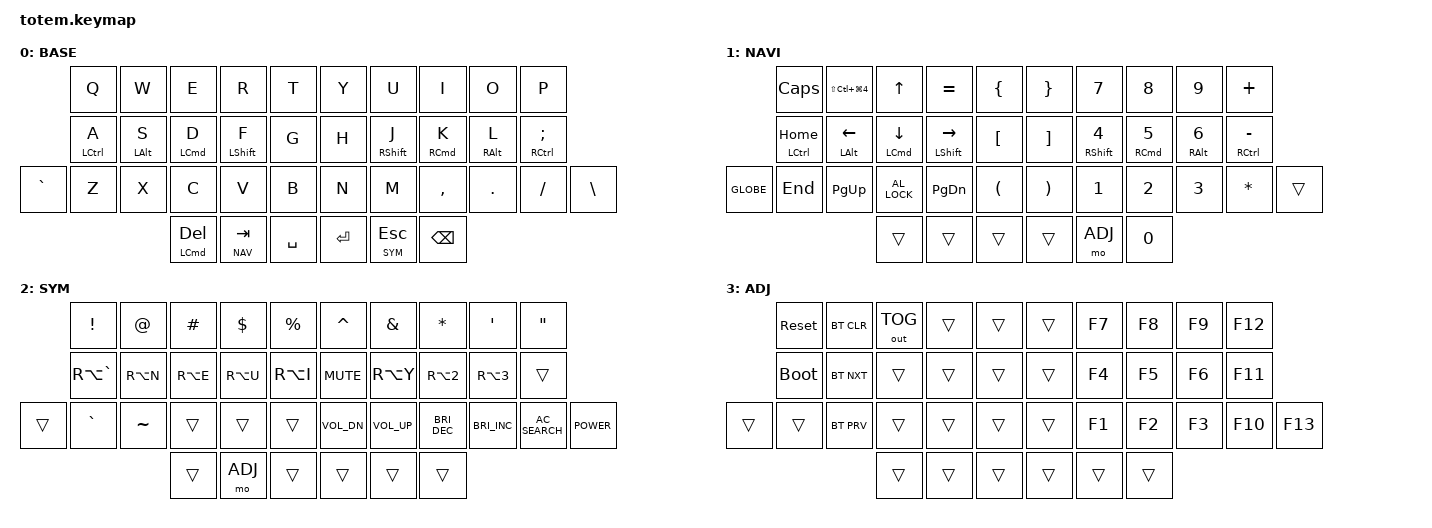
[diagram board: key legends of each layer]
//
//                                                        ▀▀▀▀▀     ▀▀▀▀▀          ▀▀█▀▀
//                                                        ▄▀▀▀▄  ▄  ▄▀▀▀▄  ▄  ▄▀▀▀▄  █  ▄▀▀▀▄
//                                                        █   █  █  █   █  █  █   █  █  █   █
//                                                         ▀▀▀   █   ▀▀▀   █   ▀▀▀   ▀   ▀▀▀
//                                                               █      ▄▄▄█▄▄▄    █   █  
//                                                               ▀      █  █  █     █▄█
//                                                             ▀▀▀▀▀    █  █  █      ▀
//                                                                      ▀  ▀  ▀
//
// ▄▄▄▄▄▄▄▄▄▄▄▄▄▄▄▄▄▄▄▄▄▄▄▄▄▄▄▄▄▄▄▄▄▄▄▄▄▄▄▄▄▄▄▄▄▄▄▄▄▄▄▄▄▄▄▄▄▄▄▄▄▄▄▄▄▄▄▄▄▄▄▄▄▄▄▄▄▄▄▄▄▄▄▄▄▄▄▄▄▄▄▄▄▄▄▄▄▄▄▄▄▄▄▄▄▄▄▄▄▄▄▄▄▄▄▄▄▄▄▄▄▄▄▄▄▄▄▄▄▄▄▄▄▄▄▄▄▄▄▄▄▄▄▄▄▄▄▄▄

#include <behaviors.dtsi>
#include <dt-bindings/zmk/bt.h>
#include <dt-bindings/zmk/keys.h>
#include <dt-bindings/zmk/outputs.h>

#define BASE 0
#define NAV  1
#define SYM  2
#define ADJ  3

&mt {
    quick-tap-ms = <100>;
    global-quick-tap;
    flavor = "tap-preferred";
    tapping-term-ms = <170>;
};

/ {
    combos {
        compatible = "zmk,combos";

        combo_esc {
            timeout-ms = <50>;
            key-positions = <0 1>;
            bindings = <&kp ESC>;
        };
    };

    macros {
    };

    keymap {
        compatible = "zmk,keymap";

        // ▄▄▄▄▄▄▄▄▄▄▄▄▄▄▄▄▄▄▄▄▄▄▄▄▄▄▄▄▄▄▄▄▄▄▄▄▄▄▄▄▄▄▄▄▄▄▄▄▄▄▄▄▄▄▄▄▄▄▄▄▄▄▄▄▄▄▄▄▄▄▄▄▄▄▄▄▄▄▄▄▄▄▄▄▄▄▄▄▄▄▄▄▄▄▄▄▄▄▄▄▄▄▄▄▄▄▄▄▄▄▄▄▄▄▄▄▄▄▄▄▄▄▄▄▄▄▄▄▄▄▄▄▄▄▄▄▄▄▄▄▄▄▄▄▄▄▄▄▄

        base_layer {
            // ┏━━━━━━━━━━━━━━━━━━━━━━━━━━━━━━━━━━━━━━━┓

            label = "BASE";

            // ┗━━━━━━━━━━━━━━━━━━━━━━━━━━━━━━━━━━━━━━━┛
            //             ┏━━━━━━━━━━━┳━━━━━━━━━━━┳━━━━━━━━━━━┳━━━━━━━━━━━┳━━━━━━━━━━━┓   ┏━━━━━━━━━━━┳━━━━━━━━━━━┳━━━━━━━━━━━┳━━━━━━━━━━━┳━━━━━━━━━━━┓
            //             ┃     Q     ┃     W     ┃     E     ┃     R     ┃     T     ┃   ┃     Y     ┃     U     ┃     I     ┃     O     ┃     P     ┃
            //             ┣━━━━━━━━━━━╋━━━━━━━━━━━╋━━━━━━━━━━━╋━━━━━━━━━━━╋━━━━━━━━━━━┫   ┣━━━━━━━━━━━╋━━━━━━━━━━━╋━━━━━━━━━━━╋━━━━━━━━━━━╋━━━━━━━━━━━┫
            //             ┃     A     ┃     S     ┃     D     ┃     F     ┃     G     ┃   ┃     H     ┃     J     ┃     K     ┃     L     ┃     ;     ┃
            // ┏━━━━━━━━━━━╋━━━━━━━━━━━╋━━━━━━━━━━━╋━━━━━━━━━━━╋━━━━━━━━━━━╋━━━━━━━━━━━┫   ┣━━━━━━━━━━━╋━━━━━━━━━━━╋━━━━━━━━━━━╋━━━━━━━━━━━╋━━━━━━━━━━━╋━━━━━━━━━━━┓
            // ┃     `     ┃     Z     ┃     X     ┃     C     ┃     V     ┃     B     ┃   ┃     N     ┃     M     ┃     ,     ┃     .     ┃     /     ┃     \     ┃
            // ┗━━━━━━━━━━━┻━━━━━━━━━━━┻━━━━━━━━━━━╋━━━━━━━━━━━╋━━━━━━━━━━━╋━━━━━━━━━━━┫   ┣━━━━━━━━━━━╋━━━━━━━━━━━╋━━━━━━━━━━━╋━━━━━━━━━━━┻━━━━━━━━━━━┻━━━━━━━━━━━┛
            //                                     ┃    DEL    ┃    TAB    ┃    SPC    ┃   ┃   ENTER   ┃    ESC    ┃   BSPC    ┃
            //                                     ┗━━━━━━━━━━━┻━━━━━━━━━━━┻━━━━━━━━━━━┛   ┗━━━━━━━━━━━┻━━━━━━━━━━━┻━━━━━━━━━━━┛

            bindings = <
           &kp Q        &kp W       &kp E         &kp R        &kp T        &kp Y    &kp U        &kp I       &kp O       &kp P
           &mt LCTRL A  &mt LALT S  &mt LCMD D    &mt LSHFT F  &kp G        &kp H    &mt RSHFT J  &mt RCMD K  &mt RALT L  &mt RCTRL SEMI
&kp GRAVE  &kp Z        &kp X       &kp C         &kp V        &kp B        &kp N    &kp M        &kp COMMA   &kp DOT     &kp FSLH        &kp BSLH
                                    &mt LCMD DEL  &lt NAV TAB  &kp SPACE    &kp RET  &lt SYM ESC  &kp BSPC
            >;
        };

        // ▄▄▄▄▄▄▄▄▄▄▄▄▄▄▄▄▄▄▄▄▄▄▄▄▄▄▄▄▄▄▄▄▄▄▄▄▄▄▄▄▄▄▄▄▄▄▄▄▄▄▄▄▄▄▄▄▄▄▄▄▄▄▄▄▄▄▄▄▄▄▄▄▄▄▄▄▄▄▄▄▄▄▄▄▄▄▄▄▄▄▄▄▄▄▄▄▄▄▄▄▄▄▄▄▄▄▄▄▄▄▄▄▄▄▄▄▄▄▄▄▄▄▄▄▄▄▄▄▄▄▄▄▄▄▄▄▄▄▄▄▄▄▄▄▄▄▄▄▄

        nav_layer {
            // ┏━━━━━━━━━━━━━━━━━━━━━━━━━━━━━━━━━━━━━━━┓

            label = "NAVI";

            // ┗━━━━━━━━━━━━━━━━━━━━━━━━━━━━━━━━━━━━━━━┛
            //             ┏━━━━━━━━━━━┳━━━━━━━━━━━┳━━━━━━━━━━━┳━━━━━━━━━━━┳━━━━━━━━━━━┓   ┏━━━━━━━━━━━┳━━━━━━━━━━━┳━━━━━━━━━━━┳━━━━━━━━━━━┳━━━━━━━━━━━┓
            //             ┃  C LOCK   ┃   PRINT   ┃    UP     ┃     =     ┃     {     ┃   ┃     }     ┃     7     ┃     8     ┃     9     ┃     +     ┃
            //             ┣━━━━━━━━━━━╋━━━━━━━━━━━╋━━━━━━━━━━━╋━━━━━━━━━━━╋━━━━━━━━━━━┫   ┣━━━━━━━━━━━╋━━━━━━━━━━━╋━━━━━━━━━━━╋━━━━━━━━━━━╋━━━━━━━━━━━┫
            //             ┃   HOME    ┃   LEFT    ┃   DOWN    ┃   RIGHT   ┃     [     ┃   ┃     ]     ┃     4     ┃     5     ┃     6     ┃     -     ┃
            // ┏━━━━━━━━━━━╋━━━━━━━━━━━╋━━━━━━━━━━━╋━━━━━━━━━━━╋━━━━━━━━━━━╋━━━━━━━━━━━┫   ┣━━━━━━━━━━━╋━━━━━━━━━━━╋━━━━━━━━━━━╋━━━━━━━━━━━╋━━━━━━━━━━━╋━━━━━━━━━━━┓
            // ┃   GLOBE   ┃    END    ┃   P UP    ┃   LOCK    ┃  P DOWN   ┃     (     ┃   ┃     )     ┃     1     ┃     2     ┃     3     ┃     *     ┃           ┃
            // ┗━━━━━━━━━━━┻━━━━━━━━━━━┻━━━━━━━━━━━╋━━━━━━━━━━━╋━━━━━━━━━━━╋━━━━━━━━━━━┫   ┣━━━━━━━━━━━╋━━━━━━━━━━━╋━━━━━━━━━━━╋━━━━━━━━━━━┻━━━━━━━━━━━┻━━━━━━━━━━━┛
            //                                     ┃           ┃           ┃           ┃   ┃           ┃    ADJ    ┃     0     ┃
            //                                     ┗━━━━━━━━━━━┻━━━━━━━━━━━┻━━━━━━━━━━━┛   ┗━━━━━━━━━━━┻━━━━━━━━━━━┻━━━━━━━━━━━┛

            bindings = <
           &kp CAPS        &kp LS(LC(LG(N4)))  &kp UP         &kp EQUAL        &kp LBRC    &kp RBRC  &kp N7        &kp N8       &kp N9       &kp PLUS
           &mt LCTRL HOME  &mt LALT LEFT       &mt LCMD DOWN  &mt LSHFT RIGHT  &kp LBKT    &kp RBKT  &mt RSHFT N4  &mt RCMD N5  &mt RALT N6  &mt RCTRL MINUS
&kp GLOBE  &kp END         &kp PG_UP           &kp C_AL_LOCK  &kp PG_DN        &kp LPAR    &kp RPAR  &kp N1        &kp N2       &kp N3       &kp ASTRK        &trans
                                               &trans         &trans           &trans      &trans    &mo ADJ       &kp N0
            >;
        };

        // ▄▄▄▄▄▄▄▄▄▄▄▄▄▄▄▄▄▄▄▄▄▄▄▄▄▄▄▄▄▄▄▄▄▄▄▄▄▄▄▄▄▄▄▄▄▄▄▄▄▄▄▄▄▄▄▄▄▄▄▄▄▄▄▄▄▄▄▄▄▄▄▄▄▄▄▄▄▄▄▄▄▄▄▄▄▄▄▄▄▄▄▄▄▄▄▄▄▄▄▄▄▄▄▄▄▄▄▄▄▄▄▄▄▄▄▄▄▄▄▄▄▄▄▄▄▄▄▄▄▄▄▄▄▄▄▄▄▄▄▄▄▄▄▄▄▄▄▄▄

        sim_layer {
            // ┏━━━━━━━━━━━━━━━━━━━━━━━━━━━━━━━━━━━━━━━┓

            label = "SYM";

            // ┗━━━━━━━━━━━━━━━━━━━━━━━━━━━━━━━━━━━━━━━┛
            //             ┏━━━━━━━━━━━┳━━━━━━━━━━━┳━━━━━━━━━━━┳━━━━━━━━━━━┳━━━━━━━━━━━┓   ┏━━━━━━━━━━━┳━━━━━━━━━━━┳━━━━━━━━━━━┳━━━━━━━━━━━┳━━━━━━━━━━━┓
            //             ┃     !     ┃     @     ┃     #     ┃     $     ┃     %     ┃   ┃     ˆ     ┃     &     ┃     *     ┃     '     ┃     "     ┃
            //             ┣━━━━━━━━━━━╋━━━━━━━━━━━╋━━━━━━━━━━━╋━━━━━━━━━━━╋━━━━━━━━━━━┫   ┣━━━━━━━━━━━╋━━━━━━━━━━━╋━━━━━━━━━━━╋━━━━━━━━━━━╋━━━━━━━━━━━┫
            //             ┃     à     ┃     ã     ┃     á     ┃     ä     ┃     â     ┃   ┃   MUTE    ┃    YEN    ┃   EURO    ┃   POUND   ┃           ┃
            // ┏━━━━━━━━━━━╋━━━━━━━━━━━╋━━━━━━━━━━━╋━━━━━━━━━━━╋━━━━━━━━━━━╋━━━━━━━━━━━┫   ┣━━━━━━━━━━━╋━━━━━━━━━━━╋━━━━━━━━━━━╋━━━━━━━━━━━╋━━━━━━━━━━━╋━━━━━━━━━━━┓
            // ┃           ┃     `     ┃     ~     ┃           ┃           ┃           ┃   ┃   VOL-    ┃   VOL+    ┃   BRI-    ┃   BRI+    ┃  SEARCH   ┃   POWER   ┃
            // ┗━━━━━━━━━━━┻━━━━━━━━━━━┻━━━━━━━━━━━╋━━━━━━━━━━━╋━━━━━━━━━━━╋━━━━━━━━━━━┫   ┣━━━━━━━━━━━╋━━━━━━━━━━━╋━━━━━━━━━━━╋━━━━━━━━━━━┻━━━━━━━━━━━┻━━━━━━━━━━━┛
            //                                     ┃           ┃    ADJ    ┃           ┃   ┃           ┃           ┃           ┃
            //                                     ┗━━━━━━━━━━━┻━━━━━━━━━━━┻━━━━━━━━━━━┛   ┗━━━━━━━━━━━┻━━━━━━━━━━━┻━━━━━━━━━━━┛

            bindings = <
        &kp EXCL       &kp AT     &kp HASH   &kp DLLR   &kp PRCNT    &kp CARET     &kp AMPS      &kp ASTRK      &kp SQT        &kp DQT
        &kp RA(GRAVE)  &kp RA(N)  &kp RA(E)  &kp RA(U)  &kp RA(I)    &kp C_MUTE    &kp RA(Y)     &kp RA(N2)     &kp RA(N3)     &trans
&trans  &kp GRAVE      &kp TILDE  &trans     &trans     &trans       &kp C_VOL_DN  &kp C_VOL_UP  &kp C_BRI_DEC  &kp C_BRI_INC  &kp C_AC_SEARCH  &kp C_POWER
                                  &trans     &mo ADJ    &trans       &trans        &trans         &trans
            >;
        };

        // ▄▄▄▄▄▄▄▄▄▄▄▄▄▄▄▄▄▄▄▄▄▄▄▄▄▄▄▄▄▄▄▄▄▄▄▄▄▄▄▄▄▄▄▄▄▄▄▄▄▄▄▄▄▄▄▄▄▄▄▄▄▄▄▄▄▄▄▄▄▄▄▄▄▄▄▄▄▄▄▄▄▄▄▄▄▄▄▄▄▄▄▄▄▄▄▄▄▄▄▄▄▄▄▄▄▄▄▄▄▄▄▄▄▄▄▄▄▄▄▄▄▄▄▄▄▄▄▄▄▄▄▄▄▄▄▄▄▄▄▄▄▄▄▄▄▄▄▄▄

        adjust_layer {
            // ┏━━━━━━━━━━━━━━━━━━━━━━━━━━━━━━━━━━━━━━━┓

            label = "ADJ";

            // ┗━━━━━━━━━━━━━━━━━━━━━━━━━━━━━━━━━━━━━━━┛
            //             ┏━━━━━━━━━━━┳━━━━━━━━━━━┳━━━━━━━━━━━┳━━━━━━━━━━━┳━━━━━━━━━━━┓   ┏━━━━━━━━━━━┳━━━━━━━━━━━┳━━━━━━━━━━━┳━━━━━━━━━━━┳━━━━━━━━━━━┓
            //             ┃   RESET   ┃ BT CLEAR  ┃  OUT TOG  ┃           ┃           ┃   ┃           ┃    F7     ┃    F8     ┃    F9     ┃    F12    ┃
            //             ┣━━━━━━━━━━━╋━━━━━━━━━━━╋━━━━━━━━━━━╋━━━━━━━━━━━╋━━━━━━━━━━━┫   ┣━━━━━━━━━━━╋━━━━━━━━━━━╋━━━━━━━━━━━╋━━━━━━━━━━━╋━━━━━━━━━━━┫
            //             ┃ BOOTLOAD  ┃ BT NEXT   ┃           ┃           ┃           ┃   ┃           ┃    F4     ┃    F5     ┃    F6     ┃    F11    ┃
            // ┏━━━━━━━━━━━╋━━━━━━━━━━━╋━━━━━━━━━━━╋━━━━━━━━━━━╋━━━━━━━━━━━╋━━━━━━━━━━━┫   ┣━━━━━━━━━━━╋━━━━━━━━━━━╋━━━━━━━━━━━╋━━━━━━━━━━━╋━━━━━━━━━━━╋━━━━━━━━━━━┓
            // ┃           ┃           ┃ BT PREV   ┃           ┃           ┃           ┃   ┃           ┃    F1     ┃    F2     ┃    F3     ┃    F10    ┃    F13    ┃
            // ┗━━━━━━━━━━━┻━━━━━━━━━━━┻━━━━━━━━━━━╋━━━━━━━━━━━╋━━━━━━━━━━━╋━━━━━━━━━━━┫   ┣━━━━━━━━━━━╋━━━━━━━━━━━╋━━━━━━━━━━━╋━━━━━━━━━━━┻━━━━━━━━━━━┻━━━━━━━━━━━┛
            //                                     ┃           ┃           ┃           ┃   ┃           ┃           ┃           ┃
            //                                     ┗━━━━━━━━━━━┻━━━━━━━━━━━┻━━━━━━━━━━━┛   ┗━━━━━━━━━━━┻━━━━━━━━━━━┻━━━━━━━━━━━┛

            bindings = <
        &sys_reset   &bt BT_CLR  &out OUT_TOG  &trans  &trans    &trans  &kp F7  &kp F8  &kp F9  &kp F12
        &bootloader  &bt BT_NXT  &trans        &trans  &trans    &trans  &kp F4  &kp F5  &kp F6  &kp F11
&trans  &trans       &bt BT_PRV  &trans        &trans  &trans    &trans  &kp F1  &kp F2  &kp F3  &kp F10  &kp F13
                                 &trans        &trans  &trans    &trans  &trans  &trans
            >;
        };
    };
};
